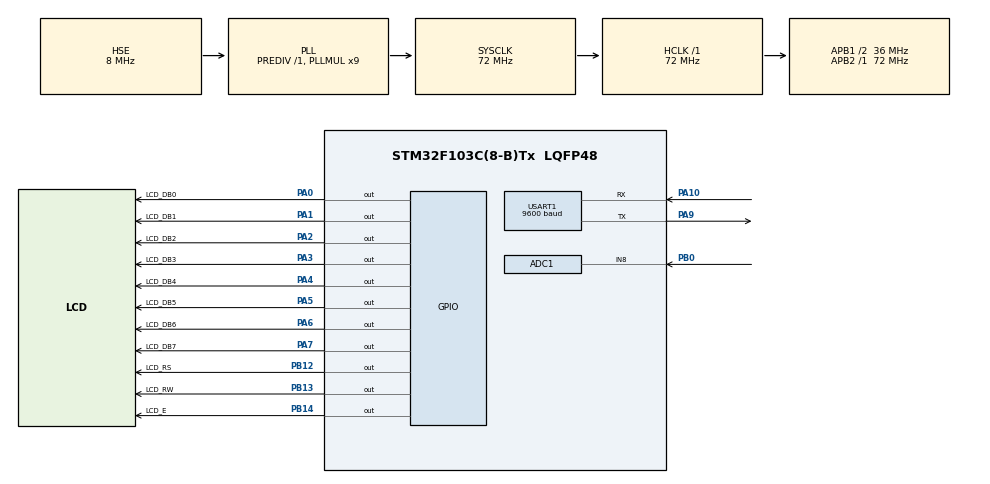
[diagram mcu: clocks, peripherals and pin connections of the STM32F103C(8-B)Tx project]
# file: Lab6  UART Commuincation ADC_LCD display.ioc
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ADC1.Channel-1\#ChannelRegularConversion=ADC_CHANNEL_8
ADC1.NbrOfConversionFlag=1
ADC1.Rank-1\#ChannelRegularConversion=1
ADC1.SamplingTime-1\#ChannelRegularConversion=ADC_SAMPLETIME_1CYCLE_5
ADC1.master=1
Mcu.Family=STM32F1
Mcu.Name=STM32F103C(8-B)Tx
Mcu.Package=LQFP48
NVIC.PriorityGroup=NVIC_PRIORITYGROUP_4
NVIC.USART1_IRQn=true\:0\:0\:false\:false\:true\:true\:true\:true
PA0-WKUP.GPIO_Label=LCD_DB0
PA0-WKUP.GPIO_Speed=GPIO_SPEED_FREQ_MEDIUM
PA0-WKUP.Signal=GPIO_Output
PA1.GPIO_Label=LCD_DB1
PA1.GPIO_Speed=GPIO_SPEED_FREQ_MEDIUM
PA1.Signal=GPIO_Output
PA10.Mode=Asynchronous
PA10.Signal=USART1_RX
PA13.Mode=Serial_Wire
PA13.Signal=SYS_JTMS-SWDIO
PA14.Mode=Serial_Wire
PA14.Signal=SYS_JTCK-SWCLK
PA2.GPIO_Label=LCD_DB2
PA2.GPIO_Speed=GPIO_SPEED_FREQ_MEDIUM
PA2.Signal=GPIO_Output
PA3.GPIO_Label=LCD_DB3
PA3.GPIO_Speed=GPIO_SPEED_FREQ_MEDIUM
PA3.Signal=GPIO_Output
PA4.GPIO_Label=LCD_DB4
PA4.GPIO_Speed=GPIO_SPEED_FREQ_MEDIUM
PA4.Signal=GPIO_Output
PA5.GPIO_Label=LCD_DB5
PA5.GPIO_Speed=GPIO_SPEED_FREQ_MEDIUM
PA5.Signal=GPIO_Output
PA6.GPIO_Label=LCD_DB6
PA6.GPIO_Speed=GPIO_SPEED_FREQ_MEDIUM
PA6.Signal=GPIO_Output
PA7.GPIO_Label=LCD_DB7
PA7.GPIO_Speed=GPIO_SPEED_FREQ_MEDIUM
PA7.Signal=GPIO_Output
PA9.Mode=Asynchronous
PA9.Signal=USART1_TX
PB0.Signal=ADCx_IN8
PB12.GPIO_Label=LCD_RS
PB12.GPIO_Speed=GPIO_SPEED_FREQ_MEDIUM
PB12.Signal=GPIO_Output
PB13.GPIO_Label=LCD_RW
PB13.GPIO_Speed=GPIO_SPEED_FREQ_MEDIUM
PB13.Signal=GPIO_Output
PB14.GPIO_Label=LCD_E
PB14.GPIO_Speed=GPIO_SPEED_FREQ_MEDIUM
PB14.Signal=GPIO_Output
PD0-OSC_IN.Mode=HSE-External-Oscillator
PD0-OSC_IN.Signal=RCC_OSC_IN
PD1-OSC_OUT.Mode=HSE-External-Oscillator
PD1-OSC_OUT.Signal=RCC_OSC_OUT
ProjectManager.HeapSize=0x200
ProjectManager.StackSize=0x400
ProjectManager.TargetToolchain=MDK-ARM V5.32
RCC.ADCPresc=RCC_ADCPCLK2_DIV6
RCC.AHBFreq_Value=72000000
RCC.APB1CLKDivider=RCC_HCLK_DIV2
RCC.APB1Freq_Value=36000000
RCC.APB1TimFreq_Value=72000000
RCC.APB2Freq_Value=72000000
RCC.APB2TimFreq_Value=72000000
RCC.HCLKFreq_Value=72000000
RCC.PLLMUL=RCC_PLL_MUL9
RCC.PLLSourceVirtual=RCC_PLLSOURCE_HSE
RCC.SYSCLKFreq_VALUE=72000000
RCC.SYSCLKSource=RCC_SYSCLKSOURCE_PLLCLK
RCC.USBFreq_Value=72000000
SH.ADCx_IN8.0=ADC1_IN8,IN8
USART1.BaudRate=9600
USART1.VirtualMode=VM_ASYNC
board=custom

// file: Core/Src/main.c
/* USER CODE BEGIN Header */
/**
  ******************************************************************************
  * @file           : main.c
  * @brief          : Main program body
  ******************************************************************************
  * @attention
  *
  * Copyright (c) 2024 STMicroelectronics.
  * All rights reserved.
  *
  * This software is licensed under terms that can be found in the LICENSE file
  * in the root directory of this software component.
  * If no LICENSE file comes with this software, it is provided AS-IS.
  *
  ******************************************************************************
  */
/* USER CODE END Header */
#include "main.h"
#include "adc.h"
#include "usart.h"
#include "gpio.h"

/* USER CODE BEGIN Includes */
#include "lcd1602.h"
#include "Delay.h"
#include <stdio.h>
#include <stdlib.h>

//#include <math.h>

/* USER CODE END Includes */

void SystemClock_Config(void);

/* USER CODE BEGIN 0 */
	uint16_t  AD_Value ; //保存AD采样得到的值
	float voltage ;  // 保存浮点
	uint8_t  hello1[] = "Hello!\n";

/* USER CODE END 0 */

int main(void)
{

  /* USER CODE BEGIN 1 */
	/* define constant strings for display */

  /* USER CODE END 1 */

  /* MCU Configuration--------------------------------------------------------*/

  /* Reset of all peripherals, Initializes the Flash interface and the Systick. */
  HAL_Init();

  /* Configure the system clock */
  SystemClock_Config();

  /* Initialize all configured peripherals */
  MX_GPIO_Init();
  MX_USART1_UART_Init();
  MX_ADC1_Init();
  /* USER CODE BEGIN 2 */
   	LCD_init(); //  LCD 初始化

	uchar Str1[] = {"voltage"};
	uchar  Coma = 0x5A; //LCD显示‘：’
	uchar dot = 0x4E ;// LCD显示".";
	uchar  unit = 0x36 ;// LCD显示"v";
	uchar  Num0 = 0x50; //LCD显示数字“0”

	uint8_t  vol0;
	uint8_t  vol1;
	uint8_t  vol2;
	uint16_t  volt0;
	uint8_t  volt1;
	uint8_t  volt2;

	char buffer1[14];
	char buffer2[15];
	char buffer3[] = "Send Correct Order,Please!\n" ;
	uint8_t RxBuffer;

	 /*以下LCD初始显示电压AD采样值*/
	LCD_Display_String(1,0,Str1) ;  //显示"voltage:"
	LCD_Display_Char(1,12,unit);//显示”v"
	LCD_Display_Char(1,7,Coma); //显示”：“
	LCD_Display_Char(1,9, dot); //显示“.”

  /* USER CODE END 2 */

  /* Infinite loop */
  while (1)
  {

    /* USER CODE BEGIN 3 */
	HAL_ADC_Start(&hadc1);//启动ADC转换
	HAL_ADC_PollForConversion(&hadc1,10);//等待转换完成，第二个参数表示超时时间，单位ms.
	if(HAL_IS_BIT_SET(HAL_ADC_GetState(&hadc1),HAL_ADC_STATE_REG_EOC)){
	 AD_Value =  HAL_ADC_GetValue(&hadc1);//读取ADC转换数据，数据为12位
		  }

		voltage =(float)AD_Value/4095 *3.3;//将AD值线性变换到0~3.3的范围，表示电压
		volt0 = (uchar)(voltage*100)%100; //小数后面两位
		volt1 = (uchar)(voltage*10)%10;  //小数后面第一位
		volt2 = (uchar)(volt0)%10;       // 小数后面第二位

		vol0 = Num0 + (int)voltage;  //模拟电压的整数部分值
		vol1 = Num0 + volt1;    //模拟电压的小数后面第一位
		vol2 = Num0 + volt2;    //模拟电压的小数后面第二位

		  /*以下LCD显示电压AD采样值*/
	LCD_Display_Char(1,8, vol0); //显示电压值的整数部分
	LCD_Display_Char(1,10, vol1); //显示电压值的小数第一位部分
	LCD_Display_Char(1,11, vol2); //显示电压值的小数第二位部分

	/* 以下通过UART 和PC收发数据和指令*/
	HAL_UART_IRQHandler(&huart1);

	HAL_UART_Receive(&huart1,&RxBuffer,2,50);
	switch(RxBuffer){

		case 'A': //收到指令“A”，上传电压值

			sprintf(buffer1,"Voltage:%.2fV\r\n",voltage);
			HAL_UART_Transmit(&huart1,(uint8_t*)buffer1,sizeof(buffer1),50);
			break;

		case 'B': //收到指令“B”, 上传ADC值
			sprintf(buffer2,"ADC Value:%d\r\n",AD_Value);
			HAL_UART_Transmit(&huart1,(uint8_t*)buffer2,sizeof(buffer2),50);

			break;

		default :  //收到无效指令，显示要求输入正确指令

			HAL_UART_Transmit(&huart1,(uint8_t*)buffer3,sizeof(buffer3),50);

			break;

	}

	Delay_ms(50);

  }
  /* USER CODE END 3 */
}

void SystemClock_Config(void)
{
  RCC_OscInitTypeDef RCC_OscInitStruct = {0};
  RCC_ClkInitTypeDef RCC_ClkInitStruct = {0};
  RCC_PeriphCLKInitTypeDef PeriphClkInit = {0};

  /** Initializes the RCC Oscillators according to the specified parameters
  * in the RCC_OscInitTypeDef structure.
  */
  RCC_OscInitStruct.OscillatorType = RCC_OSCILLATORTYPE_HSE;
  RCC_OscInitStruct.HSEState = RCC_HSE_ON;
  RCC_OscInitStruct.HSEPredivValue = RCC_HSE_PREDIV_DIV1;
  RCC_OscInitStruct.HSIState = RCC_HSI_ON;
  RCC_OscInitStruct.PLL.PLLState = RCC_PLL_ON;
  RCC_OscInitStruct.PLL.PLLSource = RCC_PLLSOURCE_HSE;
  RCC_OscInitStruct.PLL.PLLMUL = RCC_PLL_MUL9;
  if (HAL_RCC_OscConfig(&RCC_OscInitStruct) != HAL_OK)
  {
    Error_Handler();
  }

  /** Initializes the CPU, AHB and APB buses clocks
  */
  RCC_ClkInitStruct.ClockType = RCC_CLOCKTYPE_HCLK|RCC_CLOCKTYPE_SYSCLK
                              |RCC_CLOCKTYPE_PCLK1|RCC_CLOCKTYPE_PCLK2;
  RCC_ClkInitStruct.SYSCLKSource = RCC_SYSCLKSOURCE_PLLCLK;
  RCC_ClkInitStruct.AHBCLKDivider = RCC_SYSCLK_DIV1;
  RCC_ClkInitStruct.APB1CLKDivider = RCC_HCLK_DIV2;
  RCC_ClkInitStruct.APB2CLKDivider = RCC_HCLK_DIV1;

  if (HAL_RCC_ClockConfig(&RCC_ClkInitStruct, FLASH_LATENCY_2) != HAL_OK)
  {
    Error_Handler();
  }
  PeriphClkInit.PeriphClockSelection = RCC_PERIPHCLK_ADC;
  PeriphClkInit.AdcClockSelection = RCC_ADCPCLK2_DIV6;
  if (HAL_RCCEx_PeriphCLKConfig(&PeriphClkInit) != HAL_OK)
  {
    Error_Handler();
  }
}

void Error_Handler(void)
{
  __disable_irq();
  while (1)
  {
  }
}
